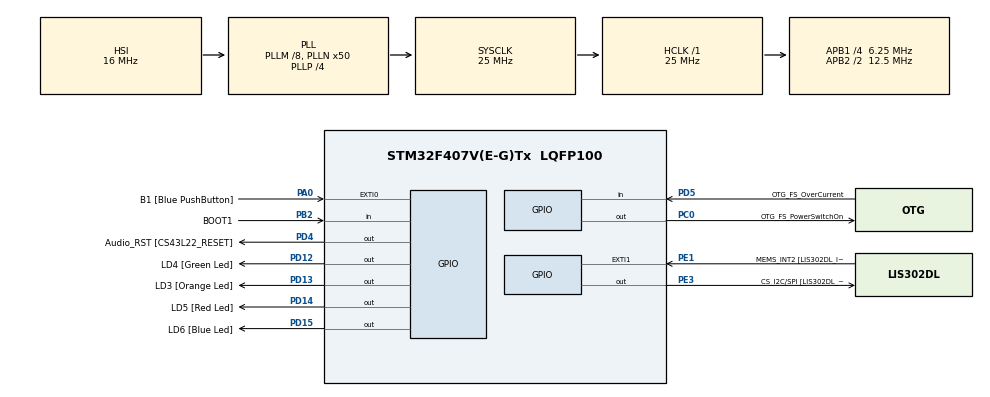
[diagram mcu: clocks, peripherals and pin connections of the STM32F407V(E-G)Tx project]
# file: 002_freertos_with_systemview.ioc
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Mcu.Family=STM32F4
Mcu.Name=STM32F407V(E-G)Tx
Mcu.Package=LQFP100
NVIC.PriorityGroup=NVIC_PRIORITYGROUP_4
NVIC.TIM6_DAC_IRQn=true\:15\:0\:false\:false\:true\:false\:true\:true
NVIC.TimeBase=TIM6_DAC_IRQn
NVIC.TimeBaseIP=TIM6
PA0-WKUP.GPIO_Label=B1 [Blue PushButton]
PA0-WKUP.Signal=GPXTI0
PA10.GPIO_Label=OTG_FS_ID
PA10.GPIO_Mode=GPIO_MODE_AF_PP
PA10.GPIO_PuPd=GPIO_NOPULL
PA10.GPIO_Speed=GPIO_SPEED_FREQ_LOW
PA10.Signal=USB_OTG_FS_ID
PA11.GPIO_Label=OTG_FS_DM
PA11.GPIO_Mode=GPIO_MODE_AF_PP
PA11.GPIO_PuPd=GPIO_NOPULL
PA11.GPIO_Speed=GPIO_SPEED_FREQ_LOW
PA11.Signal=USB_OTG_FS_DM
PA12.GPIO_Label=OTG_FS_DP
PA12.GPIO_Mode=GPIO_MODE_AF_PP
PA12.GPIO_PuPd=GPIO_NOPULL
PA12.GPIO_Speed=GPIO_SPEED_FREQ_LOW
PA12.Signal=USB_OTG_FS_DP
PA13.GPIO_Label=SWDIO
PA13.Signal=SYS_JTMS-SWDIO
PA14.GPIO_Label=SWCLK
PA14.Signal=SYS_JTCK-SWCLK
PA4.GPIO_Label=I2S3_WS [CS43L22_LRCK]
PA4.GPIO_Mode=GPIO_MODE_AF_PP
PA4.GPIO_PuPd=GPIO_NOPULL
PA4.GPIO_Speed=GPIO_SPEED_FREQ_LOW
PA4.Signal=I2S3_WS
PA5.GPIO_Label=SPI1_SCK [LIS302DL_SCL/SPC]
PA5.GPIO_Mode=GPIO_MODE_AF_PP
PA5.GPIO_PuPd=GPIO_NOPULL
PA5.GPIO_Speed=GPIO_SPEED_FREQ_LOW
PA5.Signal=SPI1_SCK
PA6.GPIO_Label=SPI1_MISO [LIS302DL_SDO]
PA6.GPIO_Mode=GPIO_MODE_AF_PP
PA6.GPIO_PuPd=GPIO_NOPULL
PA6.GPIO_Speed=GPIO_SPEED_FREQ_LOW
PA6.Signal=SPI1_MISO
PA7.GPIO_Label=SPI1_MOSI [LIS302DL_SDA/SDI/SDO]
PA7.GPIO_Mode=GPIO_MODE_AF_PP
PA7.GPIO_PuPd=GPIO_NOPULL
PA7.GPIO_Speed=GPIO_SPEED_FREQ_LOW
PA7.Signal=SPI1_MOSI
PA9.GPIO_Label=VBUS_FS
PA9.GPIO_Mode=GPIO_MODE_INPUT
PA9.GPIO_PuPd=GPIO_NOPULL
PA9.Signal=USB_OTG_FS_VBUS
PB10.GPIO_Label=CLK_IN [MP45DT02_CLK]
PB10.GPIO_Mode=GPIO_MODE_AF_PP
PB10.GPIO_PuPd=GPIO_NOPULL
PB10.GPIO_Speed=GPIO_SPEED_FREQ_LOW
PB10.Signal=I2S2_CK
PB2.GPIO_Label=BOOT1
PB2.GPIO_Mode=GPIO_MODE_INPUT
PB2.GPIO_PuPd=GPIO_NOPULL
PB2.Signal=GPIO_Input
PB3.GPIO_Label=SWO
PB3.Signal=SYS_JTDO-SWO
PB6.GPIO_Label=Audio_SCL [CS43L22_SCL]
PB6.GPIO_Mode=GPIO_MODE_AF_OD
PB6.GPIO_PuPd=GPIO_NOPULL
PB6.GPIO_Speed=GPIO_SPEED_FREQ_LOW
PB6.Signal=I2C1_SCL
PB9.GPIO_Label=Audio_SDA [CS43L22_SDA]
PB9.GPIO_Mode=GPIO_MODE_AF_OD
PB9.GPIO_PuPd=GPIO_NOPULL
PB9.GPIO_Speed=GPIO_SPEED_FREQ_LOW
PB9.Signal=I2C1_SDA
PC0.GPIO_Label=OTG_FS_PowerSwitchOn
PC0.GPIO_PuPd=GPIO_NOPULL
PC0.GPIO_Speed=GPIO_SPEED_FREQ_LOW
PC0.PinState=GPIO_PIN_SET
PC0.Signal=GPIO_Output
PC10.GPIO_Label=I2S3_SCK [CS43L22_SCLK]
PC10.GPIO_Mode=GPIO_MODE_AF_PP
PC10.GPIO_PuPd=GPIO_NOPULL
PC10.GPIO_Speed=GPIO_SPEED_FREQ_LOW
PC10.Signal=I2S3_CK
PC12.GPIO_Label=I2S3_SD [CS43L22_SDIN]
PC12.GPIO_Mode=GPIO_MODE_AF_PP
PC12.GPIO_PuPd=GPIO_NOPULL
PC12.GPIO_Speed=GPIO_SPEED_FREQ_LOW
PC12.Signal=I2S3_SD
PC14-OSC32_IN.GPIO_Label=PC14-OSC32_IN
PC14-OSC32_IN.Signal=RCC_OSC32_IN
PC15-OSC32_OUT.GPIO_Label=PC15-OSC32_OUT
PC15-OSC32_OUT.Signal=RCC_OSC32_OUT
PC3.GPIO_Label=PDM_OUT [MP45DT02_DOUT]
PC3.GPIO_Mode=GPIO_MODE_AF_PP
PC3.GPIO_PuPd=GPIO_NOPULL
PC3.GPIO_Speed=GPIO_SPEED_FREQ_LOW
PC3.Signal=I2S2_SD
PC7.GPIO_Label=I2S3_MCK [CS43L22_MCLK]
PC7.GPIO_Mode=GPIO_MODE_AF_PP
PC7.GPIO_PuPd=GPIO_NOPULL
PC7.GPIO_Speed=GPIO_SPEED_FREQ_LOW
PC7.Signal=I2S3_MCK
PD12.GPIO_Label=LD4 [Green Led]
PD12.GPIO_PuPd=GPIO_NOPULL
PD12.GPIO_Speed=GPIO_SPEED_FREQ_LOW
PD12.Signal=GPIO_Output
PD13.GPIO_Label=LD3 [Orange Led]
PD13.GPIO_PuPd=GPIO_NOPULL
PD13.GPIO_Speed=GPIO_SPEED_FREQ_LOW
PD13.Signal=GPIO_Output
PD14.GPIO_Label=LD5 [Red Led]
PD14.GPIO_PuPd=GPIO_NOPULL
PD14.GPIO_Speed=GPIO_SPEED_FREQ_LOW
PD14.Signal=GPIO_Output
PD15.GPIO_Label=LD6 [Blue Led]
PD15.GPIO_PuPd=GPIO_NOPULL
PD15.GPIO_Speed=GPIO_SPEED_FREQ_LOW
PD15.Signal=GPIO_Output
PD4.GPIO_Label=Audio_RST [CS43L22_RESET]
PD4.GPIO_PuPd=GPIO_NOPULL
PD4.GPIO_Speed=GPIO_SPEED_FREQ_LOW
PD4.Signal=GPIO_Output
PD5.GPIO_Label=OTG_FS_OverCurrent
PD5.GPIO_Mode=GPIO_MODE_INPUT
PD5.GPIO_PuPd=GPIO_NOPULL
PD5.Signal=GPIO_Input
PE1.GPIO_Label=MEMS_INT2 [LIS302DL_INT2]
PE1.GPIO_ModeDefaultEXTI=GPIO_MODE_EVT_RISING
PE1.GPIO_PuPd=GPIO_NOPULL
PE1.Signal=GPXTI1
PE3.GPIO_Label=CS_I2C/SPI [LIS302DL_CS_I2C/SPI]
PE3.GPIO_PuPd=GPIO_NOPULL
PE3.GPIO_Speed=GPIO_SPEED_FREQ_LOW
PE3.Signal=GPIO_Output
PH0-OSC_IN.GPIO_Label=PH0-OSC_IN
PH0-OSC_IN.Signal=RCC_OSC_IN
PH1-OSC_OUT.GPIO_Label=PH1-OSC_OUT
PH1-OSC_OUT.Signal=RCC_OSC_OUT
ProjectManager.HeapSize=0x200
ProjectManager.StackSize=0x400
ProjectManager.TargetToolchain=STM32CubeIDE
RCC.48MHZClocksFreq_Value=14285714.285714285
RCC.AHBFreq_Value=25000000
RCC.APB1CLKDivider=RCC_HCLK_DIV4
RCC.APB1Freq_Value=6250000
RCC.APB1TimFreq_Value=12500000
RCC.APB2CLKDivider=RCC_HCLK_DIV2
RCC.APB2Freq_Value=12500000
RCC.APB2TimFreq_Value=25000000
RCC.CortexFreq_Value=25000000
RCC.HCLKFreq_Value=25000000
RCC.HSE_VALUE=8000000
RCC.HSI_VALUE=16000000
RCC.LSE_VALUE=32768
RCC.PLLM=8
RCC.PLLN=50
RCC.PLLP=RCC_PLLP_DIV4
RCC.PLLQ=7
RCC.SYSCLKFreq_VALUE=25000000
RCC.SYSCLKSource=RCC_SYSCLKSOURCE_PLLCLK
RCC.VCOOutputFreq_Value=100000000
VP_SYS_VS_tim6.Mode=TIM6
board=STM32F407G-DISC1

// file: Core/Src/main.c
/* USER CODE BEGIN Header */
/**
  ******************************************************************************
  * @file           : main.c
  * @brief          : Main program body
  ******************************************************************************
  * @attention
  *
  * Copyright (c) 2026 STMicroelectronics.
  * All rights reserved.
  *
  * This software is licensed under terms that can be found in the LICENSE file
  * in the root directory of this software component.
  * If no LICENSE file comes with this software, it is provided AS-IS.
  *
  ******************************************************************************
  */
/* USER CODE END Header */
#include "main.h"

/* USER CODE BEGIN Includes */
#include<stdio.h>
#include "FreeRTOS.h"
#include "task.h"
#include "SEGGER_SYSVIEW.h"
/* USER CODE END Includes */

/* USER CODE BEGIN PD */
#define DWT_CTRL (*(volatile uint32_t*)0xE0001000U)
/* USER CODE END PD */

void SystemClock_Config(void);
static void MX_GPIO_Init(void);
/* USER CODE BEGIN PFP */
static void task1_handler(void* parameter);
static void task2_handler(void* parameter);
/* USER CODE END PFP */

int main(void)
{

  /* MCU Configuration--------------------------------------------------------*/

  /* Reset of all peripherals, Initializes the Flash interface and the Systick. */
  HAL_Init();

  /* USER CODE BEGIN Init */
  BaseType_t status;
  TaskHandle_t task1_handle;
  TaskHandle_t task2_handle;

  /* USER CODE END Init */

  /* Configure the system clock */
  SystemClock_Config();

  /* Initialize all configured peripherals */
  MX_GPIO_Init();
  /* USER CODE BEGIN 2 */
  CoreDebug->DEMCR |= CoreDebug_DEMCR_TRCENA_Msk;
  DWT->CYCCNT = 0;
  DWT->CTRL |= DWT_CTRL_CYCCNTENA_Msk;

  NVIC_SetPriorityGrouping(NVIC_PRIORITYGROUP_4);

  SEGGER_SYSVIEW_Conf();

  status = xTaskCreate(task1_handler, "Task-1", 512, "Hello Task-1", 2, &task1_handle);

  configASSERT(status == pdPASS);

  status = xTaskCreate(task2_handler, "Task-2", 512, "Hello Task-2", 2, &task2_handle);

  configASSERT(status == pdPASS);

  vTaskStartScheduler();

  /* USER CODE END 2 */

  /* Infinite loop */
  while (1)
  {

  }
}

void SystemClock_Config(void)
{
  RCC_OscInitTypeDef RCC_OscInitStruct = {0};
  RCC_ClkInitTypeDef RCC_ClkInitStruct = {0};

  /** Configure the main internal regulator output voltage
  */
  __HAL_RCC_PWR_CLK_ENABLE();
  __HAL_PWR_VOLTAGESCALING_CONFIG(PWR_REGULATOR_VOLTAGE_SCALE1);

  /** Initializes the RCC Oscillators according to the specified parameters
  * in the RCC_OscInitTypeDef structure.
  */
  RCC_OscInitStruct.OscillatorType = RCC_OSCILLATORTYPE_HSI;
  RCC_OscInitStruct.HSIState = RCC_HSI_ON;
  RCC_OscInitStruct.HSICalibrationValue = RCC_HSICALIBRATION_DEFAULT;
  RCC_OscInitStruct.PLL.PLLState = RCC_PLL_ON;
  RCC_OscInitStruct.PLL.PLLSource = RCC_PLLSOURCE_HSI;
  RCC_OscInitStruct.PLL.PLLM = 8;
  RCC_OscInitStruct.PLL.PLLN = 50;
  RCC_OscInitStruct.PLL.PLLP = RCC_PLLP_DIV4;
  RCC_OscInitStruct.PLL.PLLQ = 7;
  if (HAL_RCC_OscConfig(&RCC_OscInitStruct) != HAL_OK)
  {
    Error_Handler();
  }

  /** Initializes the CPU, AHB and APB buses clocks
  */
  RCC_ClkInitStruct.ClockType = RCC_CLOCKTYPE_HCLK|RCC_CLOCKTYPE_SYSCLK
                              |RCC_CLOCKTYPE_PCLK1|RCC_CLOCKTYPE_PCLK2;
  RCC_ClkInitStruct.SYSCLKSource = RCC_SYSCLKSOURCE_PLLCLK;
  RCC_ClkInitStruct.AHBCLKDivider = RCC_SYSCLK_DIV1;
  RCC_ClkInitStruct.APB1CLKDivider = RCC_HCLK_DIV4;
  RCC_ClkInitStruct.APB2CLKDivider = RCC_HCLK_DIV2;

  if (HAL_RCC_ClockConfig(&RCC_ClkInitStruct, FLASH_LATENCY_0) != HAL_OK)
  {
    Error_Handler();
  }
}

static void MX_GPIO_Init(void)
{
  GPIO_InitTypeDef GPIO_InitStruct = {0};

  /* GPIO Ports Clock Enable */
  __HAL_RCC_GPIOE_CLK_ENABLE();
  __HAL_RCC_GPIOC_CLK_ENABLE();
  __HAL_RCC_GPIOH_CLK_ENABLE();
  __HAL_RCC_GPIOA_CLK_ENABLE();
  __HAL_RCC_GPIOB_CLK_ENABLE();
  __HAL_RCC_GPIOD_CLK_ENABLE();

  /*Configure GPIO pin Output Level */
  HAL_GPIO_WritePin(CS_I2C_SPI_GPIO_Port, CS_I2C_SPI_Pin, GPIO_PIN_RESET);

  /*Configure GPIO pin Output Level */
  HAL_GPIO_WritePin(OTG_FS_PowerSwitchOn_GPIO_Port, OTG_FS_PowerSwitchOn_Pin, GPIO_PIN_SET);

  /*Configure GPIO pin Output Level */
  HAL_GPIO_WritePin(GPIOD, LD4_Pin|LD3_Pin|LD5_Pin|LD6_Pin
                          |Audio_RST_Pin, GPIO_PIN_RESET);

  /*Configure GPIO pin : CS_I2C_SPI_Pin */
  GPIO_InitStruct.Pin = CS_I2C_SPI_Pin;
  GPIO_InitStruct.Mode = GPIO_MODE_OUTPUT_PP;
  GPIO_InitStruct.Pull = GPIO_NOPULL;
  GPIO_InitStruct.Speed = GPIO_SPEED_FREQ_LOW;
  HAL_GPIO_Init(CS_I2C_SPI_GPIO_Port, &GPIO_InitStruct);

  /*Configure GPIO pin : OTG_FS_PowerSwitchOn_Pin */
  GPIO_InitStruct.Pin = OTG_FS_PowerSwitchOn_Pin;
  GPIO_InitStruct.Mode = GPIO_MODE_OUTPUT_PP;
  GPIO_InitStruct.Pull = GPIO_NOPULL;
  GPIO_InitStruct.Speed = GPIO_SPEED_FREQ_LOW;
  HAL_GPIO_Init(OTG_FS_PowerSwitchOn_GPIO_Port, &GPIO_InitStruct);

  /*Configure GPIO pin : PDM_OUT_Pin */
  GPIO_InitStruct.Pin = PDM_OUT_Pin;
  GPIO_InitStruct.Mode = GPIO_MODE_AF_PP;
  GPIO_InitStruct.Pull = GPIO_NOPULL;
  GPIO_InitStruct.Speed = GPIO_SPEED_FREQ_LOW;
  GPIO_InitStruct.Alternate = GPIO_AF5_SPI2;
  HAL_GPIO_Init(PDM_OUT_GPIO_Port, &GPIO_InitStruct);

  /*Configure GPIO pin : B1_Pin */
  GPIO_InitStruct.Pin = B1_Pin;
  GPIO_InitStruct.Mode = GPIO_MODE_IT_RISING;
  GPIO_InitStruct.Pull = GPIO_NOPULL;
  HAL_GPIO_Init(B1_GPIO_Port, &GPIO_InitStruct);

  /*Configure GPIO pin : I2S3_WS_Pin */
  GPIO_InitStruct.Pin = I2S3_WS_Pin;
  GPIO_InitStruct.Mode = GPIO_MODE_AF_PP;
  GPIO_InitStruct.Pull = GPIO_NOPULL;
  GPIO_InitStruct.Speed = GPIO_SPEED_FREQ_LOW;
  GPIO_InitStruct.Alternate = GPIO_AF6_SPI3;
  HAL_GPIO_Init(I2S3_WS_GPIO_Port, &GPIO_InitStruct);

  /*Configure GPIO pins : SPI1_SCK_Pin SPI1_MISO_Pin SPI1_MOSI_Pin */
  GPIO_InitStruct.Pin = SPI1_SCK_Pin|SPI1_MISO_Pin|SPI1_MOSI_Pin;
  GPIO_InitStruct.Mode = GPIO_MODE_AF_PP;
  GPIO_InitStruct.Pull = GPIO_NOPULL;
  GPIO_InitStruct.Speed = GPIO_SPEED_FREQ_LOW;
  GPIO_InitStruct.Alternate = GPIO_AF5_SPI1;
  HAL_GPIO_Init(GPIOA, &GPIO_InitStruct);

  /*Configure GPIO pin : BOOT1_Pin */
  GPIO_InitStruct.Pin = BOOT1_Pin;
  GPIO_InitStruct.Mode = GPIO_MODE_INPUT;
  GPIO_InitStruct.Pull = GPIO_NOPULL;
  HAL_GPIO_Init(BOOT1_GPIO_Port, &GPIO_InitStruct);

  /*Configure GPIO pin : CLK_IN_Pin */
  GPIO_InitStruct.Pin = CLK_IN_Pin;
  GPIO_InitStruct.Mode = GPIO_MODE_AF_PP;
  GPIO_InitStruct.Pull = GPIO_NOPULL;
  GPIO_InitStruct.Speed = GPIO_SPEED_FREQ_LOW;
  GPIO_InitStruct.Alternate = GPIO_AF5_SPI2;
  HAL_GPIO_Init(CLK_IN_GPIO_Port, &GPIO_InitStruct);

  /*Configure GPIO pins : LD4_Pin LD3_Pin LD5_Pin LD6_Pin
                           Audio_RST_Pin */
  GPIO_InitStruct.Pin = LD4_Pin|LD3_Pin|LD5_Pin|LD6_Pin
                          |Audio_RST_Pin;
  GPIO_InitStruct.Mode = GPIO_MODE_OUTPUT_PP;
  GPIO_InitStruct.Pull = GPIO_NOPULL;
  GPIO_InitStruct.Speed = GPIO_SPEED_FREQ_LOW;
  HAL_GPIO_Init(GPIOD, &GPIO_InitStruct);

  /*Configure GPIO pins : I2S3_MCK_Pin I2S3_SCK_Pin I2S3_SD_Pin */
  GPIO_InitStruct.Pin = I2S3_MCK_Pin|I2S3_SCK_Pin|I2S3_SD_Pin;
  GPIO_InitStruct.Mode = GPIO_MODE_AF_PP;
  GPIO_InitStruct.Pull = GPIO_NOPULL;
  GPIO_InitStruct.Speed = GPIO_SPEED_FREQ_LOW;
  GPIO_InitStruct.Alternate = GPIO_AF6_SPI3;
  HAL_GPIO_Init(GPIOC, &GPIO_InitStruct);

  /*Configure GPIO pin : VBUS_FS_Pin */
  GPIO_InitStruct.Pin = VBUS_FS_Pin;
  GPIO_InitStruct.Mode = GPIO_MODE_INPUT;
  GPIO_InitStruct.Pull = GPIO_NOPULL;
  HAL_GPIO_Init(VBUS_FS_GPIO_Port, &GPIO_InitStruct);

  /*Configure GPIO pins : OTG_FS_ID_Pin OTG_FS_DM_Pin OTG_FS_DP_Pin */
  GPIO_InitStruct.Pin = OTG_FS_ID_Pin|OTG_FS_DM_Pin|OTG_FS_DP_Pin;
  GPIO_InitStruct.Mode = GPIO_MODE_AF_PP;
  GPIO_InitStruct.Pull = GPIO_NOPULL;
  GPIO_InitStruct.Speed = GPIO_SPEED_FREQ_LOW;
  GPIO_InitStruct.Alternate = GPIO_AF10_OTG_FS;
  HAL_GPIO_Init(GPIOA, &GPIO_InitStruct);

  /*Configure GPIO pin : OTG_FS_OverCurrent_Pin */
  GPIO_InitStruct.Pin = OTG_FS_OverCurrent_Pin;
  GPIO_InitStruct.Mode = GPIO_MODE_INPUT;
  GPIO_InitStruct.Pull = GPIO_NOPULL;
  HAL_GPIO_Init(OTG_FS_OverCurrent_GPIO_Port, &GPIO_InitStruct);

  /*Configure GPIO pins : Audio_SCL_Pin Audio_SDA_Pin */
  GPIO_InitStruct.Pin = Audio_SCL_Pin|Audio_SDA_Pin;
  GPIO_InitStruct.Mode = GPIO_MODE_AF_OD;
  GPIO_InitStruct.Pull = GPIO_NOPULL;
  GPIO_InitStruct.Speed = GPIO_SPEED_FREQ_LOW;
  GPIO_InitStruct.Alternate = GPIO_AF4_I2C1;
  HAL_GPIO_Init(GPIOB, &GPIO_InitStruct);

  /*Configure GPIO pin : MEMS_INT2_Pin */
  GPIO_InitStruct.Pin = MEMS_INT2_Pin;
  GPIO_InitStruct.Mode = GPIO_MODE_EVT_RISING;
  GPIO_InitStruct.Pull = GPIO_NOPULL;
  HAL_GPIO_Init(MEMS_INT2_GPIO_Port, &GPIO_InitStruct);

}

/* USER CODE BEGIN 4 */

static void task1_handler(void * param)
{
	 SEGGER_SYSVIEW_Start();
	 char msg[100];
	while(1){
		snprintf(msg, 100, "%s\n", (char*)param);
		printf("Hello from Task-1\n");
		SEGGER_SYSVIEW_Print(msg);
//		vTaskDelay(pdMS_TO_TICKS(500));
		taskYIELD();
	}
}

static void task2_handler(void * param)
{
	char msg[100];
	while(1){
		snprintf(msg, 100, "%s\n", (char*)param);
		printf("Hello from Task-2\n");
		SEGGER_SYSVIEW_Print(msg);
//		vTaskDelay(pdMS_TO_TICKS(500));
		taskYIELD();
	}
}

/* USER CODE END 4 */

void HAL_TIM_PeriodElapsedCallback(TIM_HandleTypeDef *htim)
{
  if (htim->Instance == TIM6)
  {
    HAL_IncTick();
  }
}

void Error_Handler(void)
{
  __disable_irq();
  while (1)
  {
  }
}
